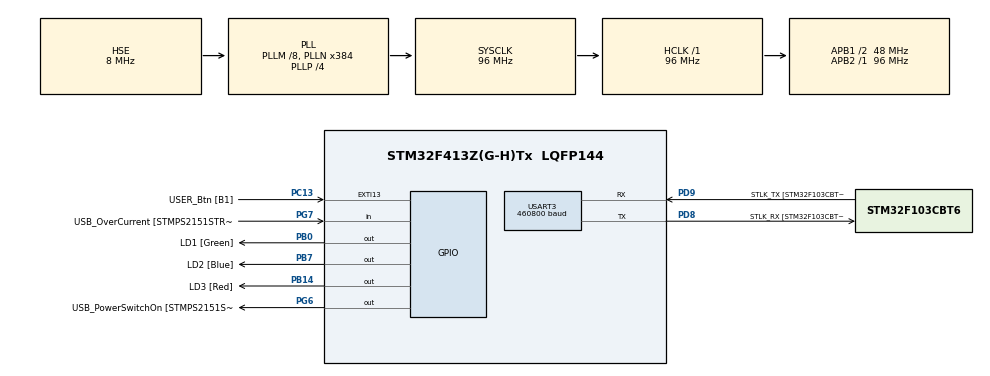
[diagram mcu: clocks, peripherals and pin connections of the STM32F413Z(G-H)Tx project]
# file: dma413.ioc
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Dma.Request0=USART3_TX
Dma.USART3_TX.0.Direction=DMA_MEMORY_TO_PERIPH
Dma.USART3_TX.0.FIFOMode=DMA_FIFOMODE_DISABLE
Dma.USART3_TX.0.Instance=DMA1_Stream3
Dma.USART3_TX.0.MemDataAlignment=DMA_MDATAALIGN_BYTE
Dma.USART3_TX.0.MemInc=DMA_MINC_ENABLE
Dma.USART3_TX.0.Mode=DMA_NORMAL
Dma.USART3_TX.0.PeriphDataAlignment=DMA_PDATAALIGN_BYTE
Dma.USART3_TX.0.PeriphInc=DMA_PINC_DISABLE
Dma.USART3_TX.0.Priority=DMA_PRIORITY_LOW
FREERTOS.Tasks01=defaultTask,0,128,StartDefaultTask,Default,NULL,Dynamic,NULL,NULL
Mcu.Family=STM32F4
Mcu.Name=STM32F413Z(G-H)Tx
Mcu.Package=LQFP144
NVIC.DMA1_Stream3_IRQn=true\:5\:0\:false\:false\:true\:true\:false\:true\:true
NVIC.PriorityGroup=NVIC_PRIORITYGROUP_4
NVIC.TIM8_TRG_COM_TIM14_IRQn=true\:15\:0\:false\:false\:true\:false\:false\:true\:true
NVIC.TimeBase=TIM8_TRG_COM_TIM14_IRQn
NVIC.TimeBaseIP=TIM14
NVIC.USART3_IRQn=true\:5\:0\:false\:false\:true\:true\:true\:true\:true
PA10.GPIO_Label=USB_ID
PA10.Signal=USB_OTG_FS_ID
PA11.GPIO_Label=USB_DM
PA11.Signal=USB_OTG_FS_DM
PA12.GPIO_Label=USB_DP
PA12.Signal=USB_OTG_FS_DP
PA13.GPIO_Label=TMS
PA13.Mode=Serial_Wire
PA13.Signal=SYS_JTMS-SWDIO
PA14.GPIO_Label=TCK
PA14.Mode=Serial_Wire
PA14.Signal=SYS_JTCK-SWCLK
PA8.GPIO_Label=USB_SOF [TP1]
PA8.Signal=USB_OTG_FS_SOF
PA9.GPIO_Label=USB_VBUS
PA9.Signal=USB_OTG_FS_VBUS
PB0.GPIO_Label=LD1 [Green]
PB0.Signal=GPIO_Output
PB14.GPIO_Label=LD3 [Red]
PB14.Signal=GPIO_Output
PB3.GPIO_Label=SWO
PB3.Signal=SYS_JTDO-SWO
PB7.GPIO_Label=LD2 [Blue]
PB7.Signal=GPIO_Output
PC13.GPIO_Label=USER_Btn [B1]
PC13.Signal=GPXTI13
PC14-OSC32_IN.Mode=LSE-External-Oscillator
PC14-OSC32_IN.Signal=RCC_OSC32_IN
PC15-OSC32_OUT.Mode=LSE-External-Oscillator
PC15-OSC32_OUT.Signal=RCC_OSC32_OUT
PD8.GPIO_Label=STLK_RX [STM32F103CBT6_PA3]
PD8.Mode=Asynchronous
PD8.Signal=USART3_TX
PD9.GPIO_Label=STLK_TX [STM32F103CBT6_PA2]
PD9.Mode=Asynchronous
PD9.Signal=USART3_RX
PG6.GPIO_Label=USB_PowerSwitchOn [STMPS2151STR_EN]
PG6.Signal=GPIO_Output
PG7.GPIO_Label=USB_OverCurrent [STMPS2151STR_FAULT]
PG7.Signal=GPIO_Input
PH0\ -\ OSC_IN.GPIO_Label=MCO
PH0\ -\ OSC_IN.Mode=HSE-External-Clock-Source
PH0\ -\ OSC_IN.Signal=RCC_OSC_IN
PH1\ -\ OSC_OUT.Mode=HSE-External-Clock-Source
PH1\ -\ OSC_OUT.Signal=RCC_OSC_OUT
ProjectManager.HeapSize=0x400
ProjectManager.StackSize=0x800
ProjectManager.TargetToolchain=MDK-ARM V5
RCC.48MHZClocksFreq_Value=24000000
RCC.AHBFreq_Value=96000000
RCC.APB1CLKDivider=RCC_HCLK_DIV2
RCC.APB1Freq_Value=48000000
RCC.APB1TimFreq_Value=96000000
RCC.APB2Freq_Value=96000000
RCC.APB2TimFreq_Value=96000000
RCC.CortexFreq_Value=96000000
RCC.HCLKFreq_Value=96000000
RCC.HSE_VALUE=8000000
RCC.HSI_VALUE=16000000
RCC.PLLM=8
RCC.PLLMUL=RCC_PLL_MUL9
RCC.PLLN=384
RCC.PLLP=RCC_PLLP_DIV4
RCC.PLLQ=8
RCC.PLLSourceVirtual=RCC_PLLSOURCE_HSE
RCC.PRESCALERUSB=RCC_USBCLKSOURCE_PLL_DIV1_5
RCC.SYSCLKFreq_VALUE=96000000
RCC.SYSCLKSource=RCC_SYSCLKSOURCE_PLLCLK
RCC.SYSCLKSourceVirtual=RCC_SYSCLKSOURCE_PLLCLK
RCC.USBFreq_Value=48000000
RCC.VCOOutputFreq_Value=384000000
USART3.BaudRate=460800
USART3.VirtualMode=VM_ASYNC
VP_FREERTOS_VS_CMSIS_V1.Mode=CMSIS_V1
VP_SYS_VS_tim14.Mode=TIM14
board=NUCLEO-F413ZH

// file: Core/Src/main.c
/* USER CODE BEGIN Header */
/**
	******************************************************************************
	* @file					 : main.c
	* @brief					: Main program body
	******************************************************************************
	* @attention
	*
	* Copyright (c) 2023 STMicroelectronics.
	* All rights reserved.
	*
	* This software is licensed under terms that can be found in the LICENSE file
	* in the root directory of this software component.
	* If no LICENSE file comes with this software, it is provided AS-IS.
	*
	******************************************************************************
	*/
/* USER CODE END Header */
#include "main.h"
#include "cmsis_os.h"

/* USER CODE BEGIN Includes */
#include <stdio.h>
#include <stdint.h>
#include <inttypes.h>
#include <string.h>
/* USER CODE END Includes */

UART_HandleTypeDef huart3;
DMA_HandleTypeDef hdma_usart3_tx;

osThreadId defaultTaskHandle;
/* USER CODE BEGIN PV */
__IO ITStatus UartReady = RESET;
/* Buffer used for transmission */
uint8_t aTxBuffer[] = "1 ****UART_TwoBoards communication based on DMA**** 2 ****UART_TwoBoards communication based on DMA**** 3 ****UART_TwoBoards communication based on DMA**** \r\n";

/* Buffer used for reception */
uint8_t aRxBuffer[RXBUFFERSIZE];

/* USER CODE END PV */

void SystemClock_Config(void);
static void MX_GPIO_Init(void);
static void MX_DMA_Init(void);
static void MX_USART3_UART_Init(void);
void StartDefaultTask(void const * argument);

int main(void)
{

  /* MCU Configuration--------------------------------------------------------*/

  /* Reset of all peripherals, Initializes the Flash interface and the Systick. */
  HAL_Init();

  /* Configure the system clock */
  SystemClock_Config();

  /* Initialize all configured peripherals */
  MX_GPIO_Init();
  MX_DMA_Init();
  MX_USART3_UART_Init();

  /* Create the thread(s) */
  /* definition and creation of defaultTask */
  osThreadDef(defaultTask, StartDefaultTask, osPriorityNormal, 0, 128);
  defaultTaskHandle = osThreadCreate(osThread(defaultTask), NULL);

  /* Start scheduler */
  osKernelStart();
  /* We should never get here as control is now taken by the scheduler */
  /* Infinite loop */
	while (1)
	{

	}
}

void SystemClock_Config(void)
{
  RCC_OscInitTypeDef RCC_OscInitStruct = {0};
  RCC_ClkInitTypeDef RCC_ClkInitStruct = {0};

  /** Configure the main internal regulator output voltage
  */
  __HAL_RCC_PWR_CLK_ENABLE();
  __HAL_PWR_VOLTAGESCALING_CONFIG(PWR_REGULATOR_VOLTAGE_SCALE1);

  /** Initializes the RCC Oscillators according to the specified parameters
  * in the RCC_OscInitTypeDef structure.
  */
  RCC_OscInitStruct.OscillatorType = RCC_OSCILLATORTYPE_HSE;
  RCC_OscInitStruct.HSEState = RCC_HSE_BYPASS;
  RCC_OscInitStruct.PLL.PLLState = RCC_PLL_ON;
  RCC_OscInitStruct.PLL.PLLSource = RCC_PLLSOURCE_HSE;
  RCC_OscInitStruct.PLL.PLLM = 8;
  RCC_OscInitStruct.PLL.PLLN = 384;
  RCC_OscInitStruct.PLL.PLLP = RCC_PLLP_DIV4;
  RCC_OscInitStruct.PLL.PLLQ = 8;
  RCC_OscInitStruct.PLL.PLLR = 2;
  if (HAL_RCC_OscConfig(&RCC_OscInitStruct) != HAL_OK)
  {
    Error_Handler();
  }

  /** Initializes the CPU, AHB and APB buses clocks
  */
  RCC_ClkInitStruct.ClockType = RCC_CLOCKTYPE_HCLK|RCC_CLOCKTYPE_SYSCLK
                              |RCC_CLOCKTYPE_PCLK1|RCC_CLOCKTYPE_PCLK2;
  RCC_ClkInitStruct.SYSCLKSource = RCC_SYSCLKSOURCE_PLLCLK;
  RCC_ClkInitStruct.AHBCLKDivider = RCC_SYSCLK_DIV1;
  RCC_ClkInitStruct.APB1CLKDivider = RCC_HCLK_DIV2;
  RCC_ClkInitStruct.APB2CLKDivider = RCC_HCLK_DIV1;

  if (HAL_RCC_ClockConfig(&RCC_ClkInitStruct, FLASH_LATENCY_3) != HAL_OK)
  {
    Error_Handler();
  }
}

static void MX_USART3_UART_Init(void)
{

  huart3.Instance = USART3;
  huart3.Init.BaudRate = 460800;
  huart3.Init.WordLength = UART_WORDLENGTH_8B;
  huart3.Init.StopBits = UART_STOPBITS_1;
  huart3.Init.Parity = UART_PARITY_NONE;
  huart3.Init.Mode = UART_MODE_TX_RX;
  huart3.Init.HwFlowCtl = UART_HWCONTROL_NONE;
  huart3.Init.OverSampling = UART_OVERSAMPLING_16;
  if (HAL_UART_Init(&huart3) != HAL_OK)
  {
    Error_Handler();
  }

}

static void MX_DMA_Init(void)
{

  /* DMA controller clock enable */
  __HAL_RCC_DMA1_CLK_ENABLE();

  /* DMA interrupt init */
  /* DMA1_Stream3_IRQn interrupt configuration */
  HAL_NVIC_SetPriority(DMA1_Stream3_IRQn, 5, 0);
  HAL_NVIC_EnableIRQ(DMA1_Stream3_IRQn);

}

static void MX_GPIO_Init(void)
{
  GPIO_InitTypeDef GPIO_InitStruct = {0};

  /* GPIO Ports Clock Enable */
  __HAL_RCC_GPIOC_CLK_ENABLE();
  __HAL_RCC_GPIOH_CLK_ENABLE();
  __HAL_RCC_GPIOB_CLK_ENABLE();
  __HAL_RCC_GPIOD_CLK_ENABLE();
  __HAL_RCC_GPIOG_CLK_ENABLE();
  __HAL_RCC_GPIOA_CLK_ENABLE();

  /*Configure GPIO pin Output Level */
  HAL_GPIO_WritePin(GPIOB, LD1_Pin|LD3_Pin|LD2_Pin, GPIO_PIN_RESET);

  /*Configure GPIO pin Output Level */
  HAL_GPIO_WritePin(USB_PowerSwitchOn_GPIO_Port, USB_PowerSwitchOn_Pin, GPIO_PIN_RESET);

  /*Configure GPIO pin : USER_Btn_Pin */
  GPIO_InitStruct.Pin = USER_Btn_Pin;
  GPIO_InitStruct.Mode = GPIO_MODE_IT_RISING;
  GPIO_InitStruct.Pull = GPIO_NOPULL;
  HAL_GPIO_Init(USER_Btn_GPIO_Port, &GPIO_InitStruct);

  /*Configure GPIO pins : LD1_Pin LD3_Pin LD2_Pin */
  GPIO_InitStruct.Pin = LD1_Pin|LD3_Pin|LD2_Pin;
  GPIO_InitStruct.Mode = GPIO_MODE_OUTPUT_PP;
  GPIO_InitStruct.Pull = GPIO_NOPULL;
  GPIO_InitStruct.Speed = GPIO_SPEED_FREQ_LOW;
  HAL_GPIO_Init(GPIOB, &GPIO_InitStruct);

  /*Configure GPIO pin : USB_PowerSwitchOn_Pin */
  GPIO_InitStruct.Pin = USB_PowerSwitchOn_Pin;
  GPIO_InitStruct.Mode = GPIO_MODE_OUTPUT_PP;
  GPIO_InitStruct.Pull = GPIO_NOPULL;
  GPIO_InitStruct.Speed = GPIO_SPEED_FREQ_LOW;
  HAL_GPIO_Init(USB_PowerSwitchOn_GPIO_Port, &GPIO_InitStruct);

  /*Configure GPIO pin : USB_OverCurrent_Pin */
  GPIO_InitStruct.Pin = USB_OverCurrent_Pin;
  GPIO_InitStruct.Mode = GPIO_MODE_INPUT;
  GPIO_InitStruct.Pull = GPIO_NOPULL;
  HAL_GPIO_Init(USB_OverCurrent_GPIO_Port, &GPIO_InitStruct);

  /*Configure GPIO pins : USB_SOF_Pin USB_ID_Pin USB_DM_Pin USB_DP_Pin */
  GPIO_InitStruct.Pin = USB_SOF_Pin|USB_ID_Pin|USB_DM_Pin|USB_DP_Pin;
  GPIO_InitStruct.Mode = GPIO_MODE_AF_PP;
  GPIO_InitStruct.Pull = GPIO_NOPULL;
  GPIO_InitStruct.Speed = GPIO_SPEED_FREQ_VERY_HIGH;
  GPIO_InitStruct.Alternate = GPIO_AF10_OTG_FS;
  HAL_GPIO_Init(GPIOA, &GPIO_InitStruct);

}

/* USER CODE BEGIN Header_StartDefaultTask */
/**
	* @brief	Function implementing the defaultTask thread.
	* @param	argument: Not used
	* @retval None
	*/
/* USER CODE END Header_StartDefaultTask */
char sprintfbuffer[255];
void StartDefaultTask(void const * argument)
{
  /* USER CODE BEGIN 5 */
	/* Infinite loop */
	for(;;)
	{
	  uint32_t tstart=HAL_GetTick();
	  if(HAL_UART_Transmit_DMA(&huart3, (uint8_t*)aTxBuffer, TXBUFFERSIZE)!= HAL_OK)
	  {
		Error_Handler();
	  }
	    /*##-4- Wait for the end of the transfer ###################################*/
	  while (UartReady != SET)
      {
      }

	  /* Reset transmission flag */
	  UartReady = RESET;
	  uint32_t tstop=HAL_GetTick();

	  uint32_t len=sprintf(sprintfbuffer, "TT start=%d stop=%d len=%d\r\n", tstart, tstop, TXBUFFERSIZE);

	  if(HAL_UART_Transmit_DMA(&huart3, (uint8_t*)sprintfbuffer, len)!= HAL_OK)
	  {
		Error_Handler();
	  }
	  /*##-4- Wait for the end of the transfer ###################################*/
	  while (UartReady != SET)
      {
      }

	  //* Reset transmission flag */
	  UartReady = RESET;
	  osDelay(10);
	}
  /* USER CODE END 5 */
}
void HAL_UART_TxCpltCallback(UART_HandleTypeDef *UartHandle)
{
  /* Set transmission flag: transfer complete */
  UartReady = SET;

}
void HAL_TIM_PeriodElapsedCallback(TIM_HandleTypeDef *htim)
{
  if (htim->Instance == TIM14) {
    HAL_IncTick();
  }
}

void Error_Handler(void)
{
	__disable_irq();
	while (1)
	{
	}
}
